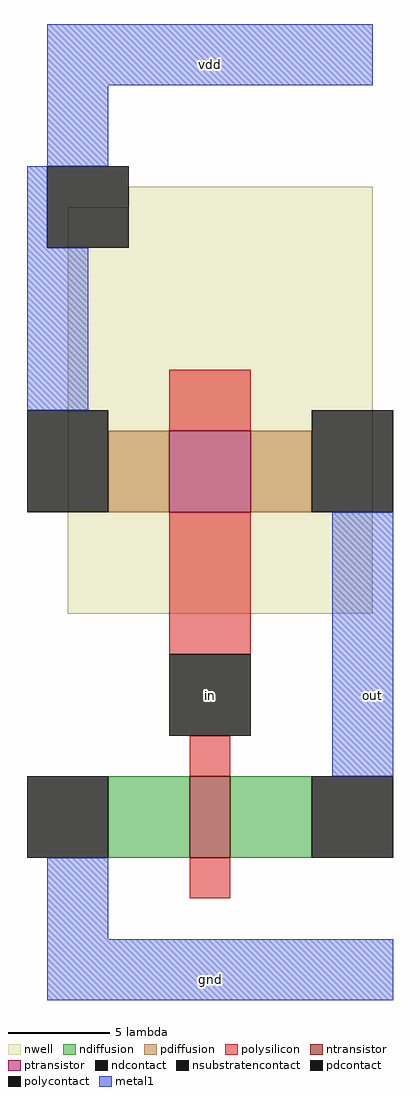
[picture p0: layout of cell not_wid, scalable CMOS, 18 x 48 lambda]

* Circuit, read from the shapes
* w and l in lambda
.subckt not_wid gnd in out vdd
M1 out in gnd VSUBS nfet w=4 l=2
M2 out in vdd vdd pfet w=4 l=4
.ends

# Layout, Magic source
magic
tech scmos
<< nwell >>
rect -4 24 8 25
rect -7 4 8 24
<< polysilicon >>
rect -2 13 2 16
rect -2 2 2 9
rect -1 -4 1 -2
rect -1 -10 1 -8
<< ndiffusion >>
rect -5 -8 -1 -4
rect 1 -8 5 -4
<< pdiffusion >>
rect -5 9 -2 13
rect 2 9 5 13
<< metal1 >>
rect -8 30 8 33
rect -8 26 -5 30
rect -9 22 -8 26
rect -9 14 -6 22
rect 6 -4 9 9
rect -8 -12 -5 -8
rect -8 -15 9 -12
<< ntransistor >>
rect -1 -8 1 -4
<< ptransistor >>
rect -2 9 2 13
<< polycontact >>
rect -2 -2 2 2
<< ndcontact >>
rect -9 -8 -5 -4
rect 5 -8 9 -4
<< pdcontact >>
rect -9 9 -5 14
rect 5 9 9 14
<< nsubstratencontact >>
rect -8 22 -4 26
<< labels >>
rlabel polycontact 0 0 0 0 1 in
rlabel metal1 0 -14 0 -14 1 gnd
rlabel metal1 8 0 8 0 7 out
rlabel metal1 0 31 0 31 5 vdd
<< end >>
